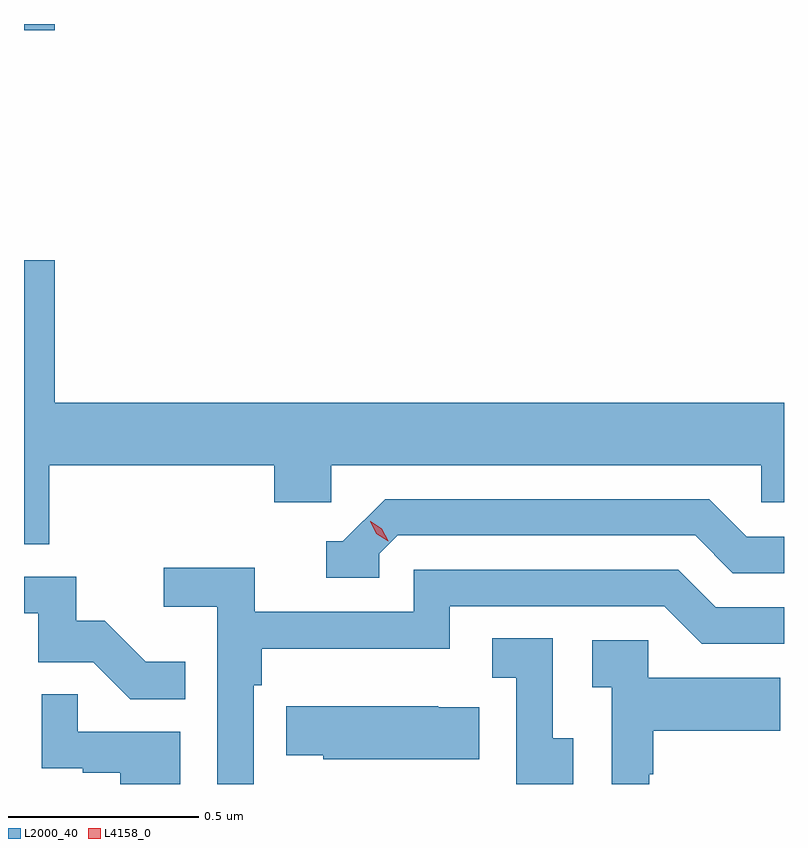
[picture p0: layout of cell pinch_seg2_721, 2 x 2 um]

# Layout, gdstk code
import gdstk
lib = gdstk.Library(unit=1e-6, precision=1e-09)
def R(c, l, rs):  # rectangles x0, y0, x1, y1
    for r in rs: c.add(gdstk.rectangle(r[:2], r[2:], *l))
def P(c, l, *ps):  # polygons
    for p in ps: c.add(gdstk.Polygon(p, *l))
L2000_40 = (2000, 40)
L4158_0 = (4158, 0)

pinch_seg2_721 = lib.new_cell('pinch_seg2_721')
R(pinch_seg2_721, L2000_40, [(1142.113,590.172,1142.194,590.189)])
P(pinch_seg2_721, L2000_40, [(1142.18,589.028),(1142.771,589.028),(1142.771,588.93),(1142.922,588.93),(1142.922,589.028),(1144.053,589.028),(1144.053,588.93),(1144.113,588.93),(1144.113,589.192),(1142.194,589.192),(1142.194,589.567),(1142.113,589.567),(1142.113,588.82),(1142.18,588.82)],
  [(1143.048,588.795),(1143.096,588.843),(1143.879,588.843),(1143.978,588.744),(1144.113,588.744),(1144.113,588.84),(1144.015,588.84),(1143.916,588.939),(1143.063,588.939),(1142.952,588.828),(1142.909,588.828),(1142.909,588.732),(1143.048,588.732)],
  [(1142.718,588.449),(1142.738,588.449),(1142.738,588.545),(1143.234,588.545),(1143.234,588.657),(1143.798,588.657),(1143.897,588.558),(1144.113,588.558),(1144.113,588.654),(1143.934,588.654),(1143.835,588.753),(1143.138,588.753),(1143.138,588.642),(1142.72,588.642),(1142.72,588.758),(1142.481,588.758),(1142.481,588.656),(1142.622,588.656),(1142.622,588.189),(1142.718,588.189)],
  [(1142.537,588.511),(1142.433,588.511),(1142.326,588.618),(1142.25,588.618),(1142.25,588.735),(1142.113,588.735),(1142.113,588.639),(1142.151,588.639),(1142.151,588.51),(1142.295,588.51),(1142.393,588.412),(1142.537,588.412)],
  [(1143.559,588.309),(1143.504,588.309),(1143.504,588.572),(1143.345,588.572),(1143.345,588.469),(1143.408,588.469),(1143.408,588.189),(1143.559,588.189)],
  [(1143.759,588.215),(1143.769,588.215),(1143.769,588.329),(1144.103,588.329),(1144.103,588.469),(1143.756,588.469),(1143.756,588.567),(1143.609,588.567),(1143.609,588.443),(1143.66,588.443),(1143.66,588.189),(1143.759,588.189)],
  [(1142.524,588.327),(1142.255,588.327),(1142.255,588.425),(1142.16,588.425),(1142.16,588.231),(1142.267,588.231),(1142.267,588.219),(1142.366,588.219),(1142.366,588.189),(1142.524,588.189)],
  [(1143.311,588.391),(1143.203,588.391),(1143.203,588.394),(1142.803,588.394),(1142.803,588.265),(1142.901,588.265),(1142.901,588.254),(1143.311,588.254)])
P(pinch_seg2_721, L4158_0, [(1143.071,588.828),(1143.04,588.848),(1143.024,588.88),(1143.024,588.881),(1143.025,588.881),(1143.055,588.861),(1143.072,588.829),(1143.072,588.828)])

lib.write_gds('pinch_seg2_721.gds')
